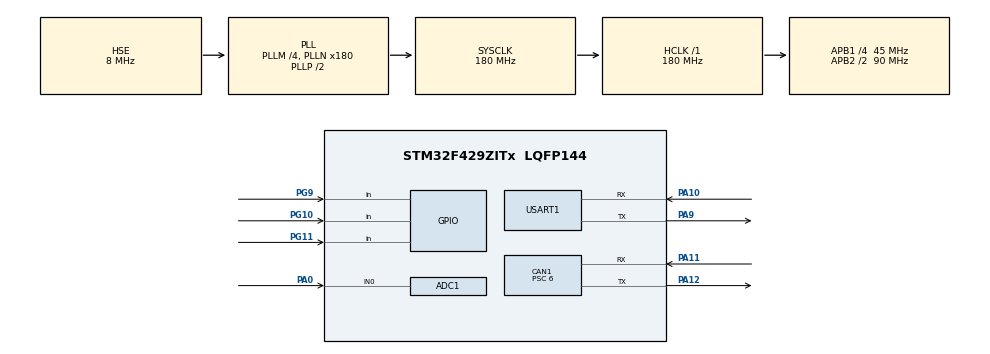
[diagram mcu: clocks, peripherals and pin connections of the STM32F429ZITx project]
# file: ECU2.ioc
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ADC1.Channel-0\#ChannelRegularConversion=ADC_CHANNEL_0
ADC1.ContinuousConvMode=DISABLE
ADC1.NbrOfConversionFlag=1
ADC1.Rank-0\#ChannelRegularConversion=1
ADC1.SamplingTime-0\#ChannelRegularConversion=ADC_SAMPLETIME_3CYCLES
ADC1.master=1
CAN1.BS1=CAN_BS1_9TQ
CAN1.BS2=CAN_BS2_5TQ
CAN1.CalculateBaudRate=500000
CAN1.CalculateTimeBit=2000
CAN1.CalculateTimeQuantum=133.33333333333331
CAN1.NART=ENABLE
CAN1.Prescaler=6
Mcu.Family=STM32F4
Mcu.Name=STM32F429ZITx
Mcu.Package=LQFP144
NVIC.ADC_IRQn=true\:0\:0\:false\:false\:true\:true\:true\:true
NVIC.CAN1_RX0_IRQn=true\:0\:0\:false\:false\:true\:true\:true\:true
NVIC.CAN1_RX1_IRQn=true\:0\:0\:false\:false\:true\:true\:true\:true
NVIC.CAN1_TX_IRQn=true\:0\:0\:false\:false\:true\:true\:true\:true
NVIC.PriorityGroup=NVIC_PRIORITYGROUP_4
NVIC.TIM4_IRQn=true\:0\:0\:false\:false\:true\:true\:true\:true
NVIC.USART1_IRQn=true\:0\:0\:false\:false\:true\:true\:true\:true
PA0/WKUP.Signal=ADCx_IN0
PA10.Mode=Asynchronous
PA10.Signal=USART1_RX
PA11.Mode=CAN_Activate
PA11.Signal=CAN1_RX
PA12.Mode=CAN_Activate
PA12.Signal=CAN1_TX
PA9.Mode=Asynchronous
PA9.Signal=USART1_TX
PG10.Signal=GPIO_Input
PG11.Signal=GPIO_Input
PG9.Signal=GPIO_Input
PH0/OSC_IN.Mode=HSE-External-Oscillator
PH0/OSC_IN.Signal=RCC_OSC_IN
PH1/OSC_OUT.Mode=HSE-External-Oscillator
PH1/OSC_OUT.Signal=RCC_OSC_OUT
ProjectManager.HeapSize=0x200
ProjectManager.StackSize=0x400
ProjectManager.TargetToolchain=STM32CubeIDE
RCC.48MHZClocksFreq_Value=90000000
RCC.AHBFreq_Value=180000000
RCC.APB1CLKDivider=RCC_HCLK_DIV4
RCC.APB1Freq_Value=45000000
RCC.APB1TimFreq_Value=90000000
RCC.APB2CLKDivider=RCC_HCLK_DIV2
RCC.APB2Freq_Value=90000000
RCC.APB2TimFreq_Value=180000000
RCC.CortexFreq_Value=180000000
RCC.HCLKFreq_Value=180000000
RCC.HSE_VALUE=8000000
RCC.HSI_VALUE=16000000
RCC.LSE_VALUE=32768
RCC.PLLM=4
RCC.PLLN=180
RCC.PLLSourceVirtual=RCC_PLLSOURCE_HSE
RCC.SYSCLKFreq_VALUE=180000000
RCC.SYSCLKSource=RCC_SYSCLKSOURCE_PLLCLK
RCC.VCOOutputFreq_Value=360000000
RTC.Hours=7
SH.ADCx_IN0.0=ADC1_IN0,IN0
TIM4.Period=9000-1
TIM4.Prescaler=10000-1
USART1.VirtualMode=VM_ASYNC
VP_RTC_VS_RTC_Activate.Mode=RTC_Enabled
VP_RTC_VS_RTC_Calendar.Mode=RTC_Calendar
VP_TIM4_VS_ClockSourceINT.Mode=Internal
board=custom

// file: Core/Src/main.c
/* USER CODE BEGIN Header */
/**
  ******************************************************************************
  * @file           : main.c
  * @brief          : Main program body
  ******************************************************************************
  * @attention
  *
  * Copyright (c) 2026 STMicroelectronics.
  * All rights reserved.
  *
  * This software is licensed under terms that can be found in the LICENSE file
  * in the root directory of this software component.
  * If no LICENSE file comes with this software, it is provided AS-IS.
  *
  ******************************************************************************
  */
/* USER CODE END Header */
#include "main.h"

/* USER CODE BEGIN Includes */
#include <stdio.h>
#include <string.h>
#define gear_id 0x400
#define rtc_id 0x500
#define rpm_id 0x600

char *gear[] = {"ON","GN","G1","G2","G3","G4","GR","C"};    //array of different gear positions
uint8_t gear_pos = 0;    //for the index of the gear.
uint8_t gear_can[2];     //for transmitting gear value to CAN.
extern uint16_t tim_flag;
extern uint16_t adc_value;

RTC_TimeTypeDef Time;       //for RTC
RTC_DateTypeDef Date;

/* USER CODE END Includes */

ADC_HandleTypeDef hadc1;

CAN_HandleTypeDef hcan1;

RTC_HandleTypeDef hrtc;

TIM_HandleTypeDef htim4;

UART_HandleTypeDef huart1;

void SystemClock_Config(void);
static void MX_GPIO_Init(void);
static void MX_ADC1_Init(void);
static void MX_CAN1_Init(void);
static void MX_RTC_Init(void);
static void MX_USART1_UART_Init(void);
static void MX_TIM4_Init(void);

/* USER CODE BEGIN 0 */

CAN_TxHeaderTypeDef TxHeader;
uint32_t TxMailbox;
uint8_t TxData[8], RxData[8];
uint8_t count;
void can_transmitter(uint16_t id, uint8_t *data,uint8_t size)
{
	TxHeader.StdId = id;
	TxHeader.IDE = CAN_ID_STD;    // use standard ID
	TxHeader.RTR = CAN_RTR_DATA;  //sending data
	TxHeader.DLC = size;             //Length is 1 byte;
	for(int i=0;i<size;i++)
	{
		TxData[i] = data[i];
	}
	 HAL_Delay(10);
	 if (HAL_CAN_AddTxMessage(&hcan1, &TxHeader, TxData, &TxMailbox) == HAL_OK)
		 HAL_GPIO_WritePin(GPIOG, GPIO_PIN_14, 0);
	 else
		 HAL_GPIO_WritePin(GPIOG, GPIO_PIN_14, 1);

}

/* Digital Keypad */
#define LEVEL 0
#define STATE 1
unsigned char read_digital_keypad(unsigned char detection_type)
{
	static uint8_t pin1=1,pin2=1,pin3=1, once1=1, once2=1, once3=1;
	pin1 = HAL_GPIO_ReadPin(GPIOG, GPIO_PIN_9);
	pin2 = HAL_GPIO_ReadPin(GPIOG, GPIO_PIN_10);
	pin3 = HAL_GPIO_ReadPin(GPIOG, GPIO_PIN_11);
	if(detection_type == LEVEL)
	{
		if(pin1 == 0)            return 1;
		else if(pin2 == 0)       return 2;
		else if(pin3 == 0)       return 3;
		else                     return 0;
	}
	else if(detection_type == STATE)
	{
		if(pin1 == 0 && once1)
		{
			once1 = 0;
			return 1;
		}
		else if(pin1 == 1) once1=1;

		if(pin2 == 0 && once2)
		{
			once2 = 0;
			return 2;
		}
		else if(pin2 == 1) once2=1;

		if(pin3 == 0 && once3)
		{
			once3=0;
			return 3;
		}
		else if(pin3 == 1) once3=1;
		else return 0;
	}
	return 0;
}

/* Gear change function */
void gear_change()
{
	unsigned char sw = read_digital_keypad(STATE);   //reading the switch value in edge triggering.
	if(sw == 1)      //SW-1 is for incrementation of the gears. Gears increment in the sequence of an array.
	{
		if(gear_pos == 6 || gear_pos == 7)  //If the gear position has reached to GR or C (collision) then we need to come to GN.
		{
			gear_pos = 1;
		}
		if(gear_pos < 6)     //If the gear is behind GR then we can increment the gears.
			gear_pos++;
	}
	else if(sw == 2)   //SW-2 is for decrementation of the gears. Gears decrement in the sequence of an array.
	{
		if(gear_pos == 1 || gear_pos == 7)  //If gear is in GN it should be in GN only it should not go back to ON state and when C happens we must return to GN.
		{
			gear_pos = 1;
		}
		if(gear_pos > 1)    //If gear is at more than GN we can decrement the gear.
			gear_pos--;
	}
	else if(sw == 3)    // SW-3 for Collision. Gear position to C.
	{
		gear_pos = 7;
	}
}
/* USER CODE END 0 */

int main(void)
{

  /* MCU Configuration--------------------------------------------------------*/

  /* Reset of all peripherals, Initializes the Flash interface and the Systick. */
  HAL_Init();

  /* Configure the system clock */
  SystemClock_Config();

  /* Initialize all configured peripherals */
  MX_GPIO_Init();
  MX_ADC1_Init();
  MX_CAN1_Init();
  MX_RTC_Init();
  MX_USART1_UART_Init();
  MX_TIM4_Init();

  /* Infinite loop */
  /* USER CODE BEGIN WHILE */
  char gearstr[5];    // to print gear position(GN,G1)
  uint8_t buf[100];   //time and date
  char adc[10];
  HAL_CAN_Start(&hcan1);
  HAL_ADC_Start_IT(&hadc1);     //ADC interrupt is called.
  HAL_TIM_Base_Start_IT(&htim4);
  uint8_t time_can[9];
  while (1)
  {
	   gear_change();     //calling the gear function.
    /* USER CODE END WHILE */

    /* USER CODE BEGIN 3 */
	  sprintf(gearstr,"%s", gear[gear_pos]);    //printing the gear position through UART.
	  //HAL_UART_Transmit(&huart1, gearstr, strlen(gearstr), HAL_MAX_DELAY);

	  HAL_RTC_GetTime(&hrtc, &Time, RTC_FORMAT_BIN);     //For time,using RTC
	  HAL_RTC_GetDate(&hrtc, &Date, RTC_FORMAT_BIN);     //For date,using RTC

/* Printing the date and time through UART*/
	  int len = sprintf(buf, "%02d:%02d:%02d", Time.Hours, Time.Minutes, Time.Seconds);//	  sprintf(buf, "%s", Time);
	  HAL_UART_Transmit(&huart1, buf, len, HAL_MAX_DELAY);
	  //  strcpy(time_can, buf);
	//  time_can[8] = '\0';
	  //strcpy(buf, "12:13:14");
	  //HAL_UART_Transmit(&huart1, buf, strlen(buf), HAL_MAX_DELAY);

	  HAL_ADC_Start_IT(&hadc1);     /* For every loop the interrupt calls and gets the adc value. */
/* Printing the Engine RPM value through UART */
	  sprintf(adc,"%d", adc_value);
	  //strcpy(adc, "99");
	  //HAL_UART_Transmit(&huart1, adc, strlen(adc), HAL_MAX_DELAY);

	  if(tim_flag){
		  tim_flag = 0;
		  HAL_GPIO_TogglePin(GPIOG, GPIO_PIN_13);
	  // Transmitting to CAN
//	  can_transmitter(gear_id, (uint8_t*)&gear[gear_pos], 2);
//	  can_transmitter(rpm_id, (uint8_t*)&adc_value, 1);
//	  can_transmitter(rtc_id, (uint8_t*)&Time, 8);

	  can_transmitter(gear_id, gearstr, strlen(gearstr)+1);
	  can_transmitter(rpm_id, adc, strlen(adc)+1);
	  can_transmitter(rtc_id, buf, 8);
	  //can_transmitter(rtc_id, (uint8_t*)&Date, 8);
	  }
  }
  /* USER CODE END 3 */
}

void SystemClock_Config(void)
{
  RCC_OscInitTypeDef RCC_OscInitStruct = {0};
  RCC_ClkInitTypeDef RCC_ClkInitStruct = {0};

  /** Configure the main internal regulator output voltage
  */
  __HAL_RCC_PWR_CLK_ENABLE();
  __HAL_PWR_VOLTAGESCALING_CONFIG(PWR_REGULATOR_VOLTAGE_SCALE1);

  /** Initializes the RCC Oscillators according to the specified parameters
  * in the RCC_OscInitTypeDef structure.
  */
  RCC_OscInitStruct.OscillatorType = RCC_OSCILLATORTYPE_LSI|RCC_OSCILLATORTYPE_HSE;
  RCC_OscInitStruct.HSEState = RCC_HSE_ON;
  RCC_OscInitStruct.LSIState = RCC_LSI_ON;
  RCC_OscInitStruct.PLL.PLLState = RCC_PLL_ON;
  RCC_OscInitStruct.PLL.PLLSource = RCC_PLLSOURCE_HSE;
  RCC_OscInitStruct.PLL.PLLM = 4;
  RCC_OscInitStruct.PLL.PLLN = 180;
  RCC_OscInitStruct.PLL.PLLP = RCC_PLLP_DIV2;
  RCC_OscInitStruct.PLL.PLLQ = 4;
  if (HAL_RCC_OscConfig(&RCC_OscInitStruct) != HAL_OK)
  {
    Error_Handler();
  }

  /** Activate the Over-Drive mode
  */
  if (HAL_PWREx_EnableOverDrive() != HAL_OK)
  {
    Error_Handler();
  }

  /** Initializes the CPU, AHB and APB buses clocks
  */
  RCC_ClkInitStruct.ClockType = RCC_CLOCKTYPE_HCLK|RCC_CLOCKTYPE_SYSCLK
                              |RCC_CLOCKTYPE_PCLK1|RCC_CLOCKTYPE_PCLK2;
  RCC_ClkInitStruct.SYSCLKSource = RCC_SYSCLKSOURCE_PLLCLK;
  RCC_ClkInitStruct.AHBCLKDivider = RCC_SYSCLK_DIV1;
  RCC_ClkInitStruct.APB1CLKDivider = RCC_HCLK_DIV4;
  RCC_ClkInitStruct.APB2CLKDivider = RCC_HCLK_DIV2;

  if (HAL_RCC_ClockConfig(&RCC_ClkInitStruct, FLASH_LATENCY_5) != HAL_OK)
  {
    Error_Handler();
  }
}

static void MX_ADC1_Init(void)
{

  ADC_ChannelConfTypeDef sConfig = {0};

  /** Configure the global features of the ADC (Clock, Resolution, Data Alignment and number of conversion)
  */
  hadc1.Instance = ADC1;
  hadc1.Init.ClockPrescaler = ADC_CLOCK_SYNC_PCLK_DIV4;
  hadc1.Init.Resolution = ADC_RESOLUTION_12B;
  hadc1.Init.ScanConvMode = DISABLE;
  hadc1.Init.ContinuousConvMode = DISABLE;
  hadc1.Init.DiscontinuousConvMode = DISABLE;
  hadc1.Init.ExternalTrigConvEdge = ADC_EXTERNALTRIGCONVEDGE_NONE;
  hadc1.Init.ExternalTrigConv = ADC_SOFTWARE_START;
  hadc1.Init.DataAlign = ADC_DATAALIGN_RIGHT;
  hadc1.Init.NbrOfConversion = 1;
  hadc1.Init.DMAContinuousRequests = DISABLE;
  hadc1.Init.EOCSelection = ADC_EOC_SINGLE_CONV;
  if (HAL_ADC_Init(&hadc1) != HAL_OK)
  {
    Error_Handler();
  }

  /** Configure for the selected ADC regular channel its corresponding rank in the sequencer and its sample time.
  */
  sConfig.Channel = ADC_CHANNEL_0;
  sConfig.Rank = 1;
  sConfig.SamplingTime = ADC_SAMPLETIME_3CYCLES;
  if (HAL_ADC_ConfigChannel(&hadc1, &sConfig) != HAL_OK)
  {
    Error_Handler();
  }

}

static void MX_CAN1_Init(void)
{

  hcan1.Instance = CAN1;
  hcan1.Init.Prescaler = 6;
  hcan1.Init.Mode = CAN_MODE_NORMAL;
  hcan1.Init.SyncJumpWidth = CAN_SJW_1TQ;
  hcan1.Init.TimeSeg1 = CAN_BS1_9TQ;
  hcan1.Init.TimeSeg2 = CAN_BS2_5TQ;
  hcan1.Init.TimeTriggeredMode = DISABLE;
  hcan1.Init.AutoBusOff = DISABLE;
  hcan1.Init.AutoWakeUp = DISABLE;
  hcan1.Init.AutoRetransmission = ENABLE;
  hcan1.Init.ReceiveFifoLocked = DISABLE;
  hcan1.Init.TransmitFifoPriority = DISABLE;
  if (HAL_CAN_Init(&hcan1) != HAL_OK)
  {
    Error_Handler();
  }
  /* USER CODE BEGIN CAN1_Init 2 */
  CAN_FilterTypeDef sFilterConfig;

        sFilterConfig.FilterActivation = ENABLE;
        sFilterConfig.FilterBank = 0;
        sFilterConfig.FilterFIFOAssignment = CAN_FILTER_FIFO0;

        // For a 32-bit filter to accept StdId 0x103:
        // The StdId occupies bits [31:21] of the 32-bit register.
        sFilterConfig.FilterIdHigh = 0x0000;
        sFilterConfig.FilterIdLow = 0x0000;

        // To accept ONLY 0x103, set mask to all 1s in those positions (0x7FF << 5)
        // To accept EVERYTHING for testing, set mask to 0
        sFilterConfig.FilterMaskIdHigh = 0x0000;
        sFilterConfig.FilterMaskIdLow = 0x0000;

        sFilterConfig.FilterMode = CAN_FILTERMODE_IDMASK;
        sFilterConfig.FilterScale = CAN_FILTERSCALE_32BIT;
        sFilterConfig.SlaveStartFilterBank = 14;

        if (HAL_CAN_ConfigFilter(&hcan1, &sFilterConfig) != HAL_OK) {
            Error_Handler();
        }

  /* USER CODE END CAN1_Init 2 */

}

static void MX_RTC_Init(void)
{

  RTC_TimeTypeDef sTime = {0};
  RTC_DateTypeDef sDate = {0};

  /** Initialize RTC Only
  */
  hrtc.Instance = RTC;
  hrtc.Init.HourFormat = RTC_HOURFORMAT_24;
  hrtc.Init.AsynchPrediv = 127;
  hrtc.Init.SynchPrediv = 255;
  hrtc.Init.OutPut = RTC_OUTPUT_DISABLE;
  hrtc.Init.OutPutPolarity = RTC_OUTPUT_POLARITY_HIGH;
  hrtc.Init.OutPutType = RTC_OUTPUT_TYPE_OPENDRAIN;
  if (HAL_RTC_Init(&hrtc) != HAL_OK)
  {
    Error_Handler();
  }

  /** Initialize RTC and set the Time and Date
  */
  sTime.Hours = 0x7;
  sTime.Minutes = 0x0;
  sTime.Seconds = 0x0;
  sTime.DayLightSaving = RTC_DAYLIGHTSAVING_NONE;
  sTime.StoreOperation = RTC_STOREOPERATION_RESET;
  if (HAL_RTC_SetTime(&hrtc, &sTime, RTC_FORMAT_BCD) != HAL_OK)
  {
    Error_Handler();
  }
  sDate.WeekDay = RTC_WEEKDAY_MONDAY;
  sDate.Month = RTC_MONTH_JANUARY;
  sDate.Date = 0x1;
  sDate.Year = 0x0;

  if (HAL_RTC_SetDate(&hrtc, &sDate, RTC_FORMAT_BCD) != HAL_OK)
  {
    Error_Handler();
  }

}

static void MX_TIM4_Init(void)
{

  TIM_ClockConfigTypeDef sClockSourceConfig = {0};
  TIM_MasterConfigTypeDef sMasterConfig = {0};

  htim4.Instance = TIM4;
  htim4.Init.Prescaler = 10000-1;
  htim4.Init.CounterMode = TIM_COUNTERMODE_UP;
  htim4.Init.Period = 9000-1;
  htim4.Init.ClockDivision = TIM_CLOCKDIVISION_DIV1;
  htim4.Init.AutoReloadPreload = TIM_AUTORELOAD_PRELOAD_DISABLE;
  if (HAL_TIM_Base_Init(&htim4) != HAL_OK)
  {
    Error_Handler();
  }
  sClockSourceConfig.ClockSource = TIM_CLOCKSOURCE_INTERNAL;
  if (HAL_TIM_ConfigClockSource(&htim4, &sClockSourceConfig) != HAL_OK)
  {
    Error_Handler();
  }
  sMasterConfig.MasterOutputTrigger = TIM_TRGO_RESET;
  sMasterConfig.MasterSlaveMode = TIM_MASTERSLAVEMODE_DISABLE;
  if (HAL_TIMEx_MasterConfigSynchronization(&htim4, &sMasterConfig) != HAL_OK)
  {
    Error_Handler();
  }

}

static void MX_USART1_UART_Init(void)
{

  huart1.Instance = USART1;
  huart1.Init.BaudRate = 115200;
  huart1.Init.WordLength = UART_WORDLENGTH_8B;
  huart1.Init.StopBits = UART_STOPBITS_1;
  huart1.Init.Parity = UART_PARITY_NONE;
  huart1.Init.Mode = UART_MODE_TX_RX;
  huart1.Init.HwFlowCtl = UART_HWCONTROL_NONE;
  huart1.Init.OverSampling = UART_OVERSAMPLING_16;
  if (HAL_UART_Init(&huart1) != HAL_OK)
  {
    Error_Handler();
  }

}

static void MX_GPIO_Init(void)
{
  GPIO_InitTypeDef GPIO_InitStruct = {0};

  /* GPIO Ports Clock Enable */
  __HAL_RCC_GPIOH_CLK_ENABLE();
  __HAL_RCC_GPIOA_CLK_ENABLE();
  __HAL_RCC_GPIOG_CLK_ENABLE();

  /*Configure GPIO pins : PG9 PG10 PG11 */
  GPIO_InitStruct.Pin = GPIO_PIN_9|GPIO_PIN_10|GPIO_PIN_11;
  GPIO_InitStruct.Mode = GPIO_MODE_INPUT;
  GPIO_InitStruct.Pull = GPIO_NOPULL;
  HAL_GPIO_Init(GPIOG, &GPIO_InitStruct);

}

void Error_Handler(void)
{
  __disable_irq();
  while (1)
  {
  }
}
